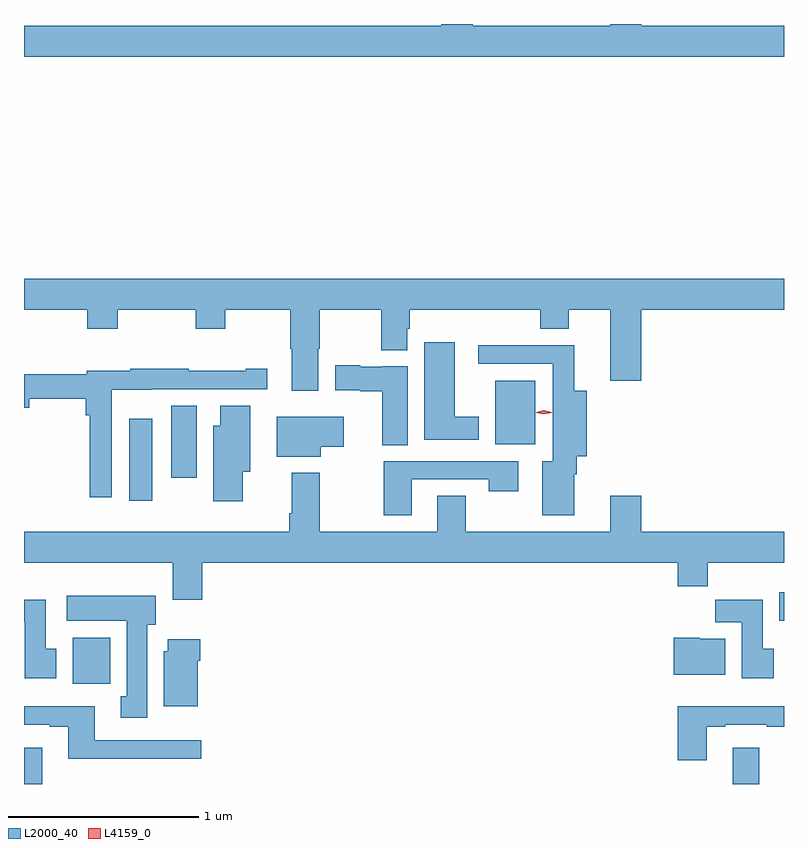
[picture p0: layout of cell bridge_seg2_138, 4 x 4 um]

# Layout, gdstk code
import gdstk
lib = gdstk.Library(unit=1e-6, precision=1e-09)
def R(c, l, rs):  # rectangles x0, y0, x1, y1
    for r in rs: c.add(gdstk.rectangle(r[:2], r[2:], *l))
def P(c, l, *ps):  # polygons
    for p in ps: c.add(gdstk.Polygon(p, *l))
L2000_40 = (2000, 40)
L4159_0 = (4159, 0)

bridge_seg2_138 = lib.new_cell('bridge_seg2_138')
R(bridge_seg2_138, L2000_40, [(509.575,594.524,509.671,594.715), (513.305,594.524,513.445,594.715), (509.831,595.052,510.028,595.294), (513.551,595.382,513.575,595.534), (510.128,596.016,510.25,596.446), (510.35,596.136,510.484,596.516), (512.054,596.312,512.266,596.647)])
P(bridge_seg2_138, L2000_40, [(513.575,598.516),(512.824,598.516),(512.824,598.524),(512.66,598.524),(512.66,598.516),(511.936,598.516),(511.936,598.524),(511.772,598.524),(511.772,598.516),(509.575,598.516),(509.575,598.352),(513.575,598.352)],
  [(511.123,596.815),(511.131,596.815),(511.131,597.02),(511.456,597.02),(511.456,596.807),(511.591,596.807),(511.591,596.919),(511.604,596.919),(511.604,597.02),(512.291,597.02),(512.291,596.921),(512.443,596.921),(512.443,597.02),(512.66,597.02),(512.66,596.646),(512.824,596.646),(512.824,597.02),(513.575,597.02),(513.575,597.184),(509.575,597.184),(509.575,597.02),(509.909,597.02),(509.909,596.921),(510.069,596.921),(510.069,597.02),(510.478,597.02),(510.478,596.921),(510.633,596.921),(510.633,597.02),(510.976,597.02),(510.976,596.816),(510.983,596.816),(510.983,596.595),(511.123,596.595)],
  [(511.969,596.458),(511.843,596.458),(511.843,596.848),(511.682,596.848),(511.682,596.336),(511.969,596.336)],
  [(512.47,596.153),(512.483,596.153),(512.483,596.249),(512.536,596.249),(512.536,596.593),(512.47,596.593),(512.47,596.834),(511.965,596.834),(511.965,596.736),(512.357,596.736),(512.357,596.224),(512.303,596.224),(512.303,595.938),(512.47,595.938)],
  [(511.594,596.722),(511.464,596.722),(511.464,596.719),(511.344,596.719),(511.344,596.727),(511.212,596.727),(511.212,596.597),(511.345,596.597),(511.345,596.59),(511.46,596.59),(511.46,596.308),(511.594,596.308)],
  [(510.036,596.6),(510.246,596.6),(510.246,596.601),(510.856,596.601),(510.856,596.71),(510.743,596.71),(510.743,596.7),(510.443,596.7),(510.443,596.71),(510.133,596.71),(510.133,596.7),(509.906,596.7),(509.906,596.68),(509.575,596.68),(509.575,596.504),(509.602,596.504),(509.602,596.551),(509.899,596.551),(509.899,596.465),(509.92,596.465),(509.92,596.034),(510.036,596.034)],
  [(510.727,596.168),(510.766,596.168),(510.766,596.516),(510.608,596.516),(510.608,596.41),(510.572,596.41),(510.572,596.013),(510.727,596.013)],
  [(511.138,596.3),(511.258,596.3),(511.258,596.458),(510.905,596.458),(510.905,596.246),(511.138,596.246)],
  [(511.615,596.127),(512.02,596.127),(512.02,596.064),(512.176,596.064),(512.176,596.223),(511.468,596.223),(511.468,595.938),(511.615,595.938)],
  [(510.512,595.688),(513.017,595.688),(513.017,595.564),(513.173,595.564),(513.173,595.688),(513.575,595.688),(513.575,595.852),(512.824,595.852),(512.824,596.041),(512.66,596.041),(512.66,595.852),(511.899,595.852),(511.899,596.042),(511.751,596.042),(511.751,595.852),(511.131,595.852),(511.131,596.161),(510.983,596.161),(510.983,595.948),(510.971,595.948),(510.971,595.852),(509.575,595.852),(509.575,595.688),(510.359,595.688),(510.359,595.494),(510.512,595.494)],
  [(510.223,595.362),(510.268,595.362),(510.268,595.516),(509.799,595.516),(509.799,595.382),(510.116,595.382),(510.116,594.986),(510.083,594.986),(510.083,594.873),(510.223,594.873)],
  [(513.52,595.236),(513.463,595.236),(513.463,595.495),(513.214,595.495),(513.214,595.376),(513.353,595.376),(513.353,595.08),(513.52,595.08)],
  [(509.746,595.236),(509.689,595.236),(509.689,595.495),(509.575,595.495),(509.575,595.376),(509.579,595.376),(509.579,595.08),(509.746,595.08)],
  [(513.265,595.288),(513.132,595.288),(513.132,595.294),(512.996,595.294),(512.996,595.1),(513.265,595.1)],
  [(510.49,595.172),(510.503,595.172),(510.503,595.285),(510.332,595.285),(510.332,595.224),(510.311,595.224),(510.311,594.932),(510.49,594.932)],
  [(510.508,594.753),(509.947,594.753),(509.947,594.934),(509.575,594.934),(509.575,594.837),(509.711,594.837),(509.711,594.825),(509.807,594.825),(509.807,594.656),(510.508,594.656)],
  [(513.169,594.825),(513.265,594.825),(513.265,594.837),(513.485,594.837),(513.485,594.825),(513.575,594.825),(513.575,594.934),(513.017,594.934),(513.017,594.648),(513.169,594.648)])
P(bridge_seg2_138, L4159_0, [(512.311,596.47),(512.271,596.479),(512.271,596.48),(512.271,596.48),(512.311,596.49),(512.352,596.48),(512.352,596.48),(512.352,596.479)])

lib.write_gds('bridge_seg2_138.gds')
